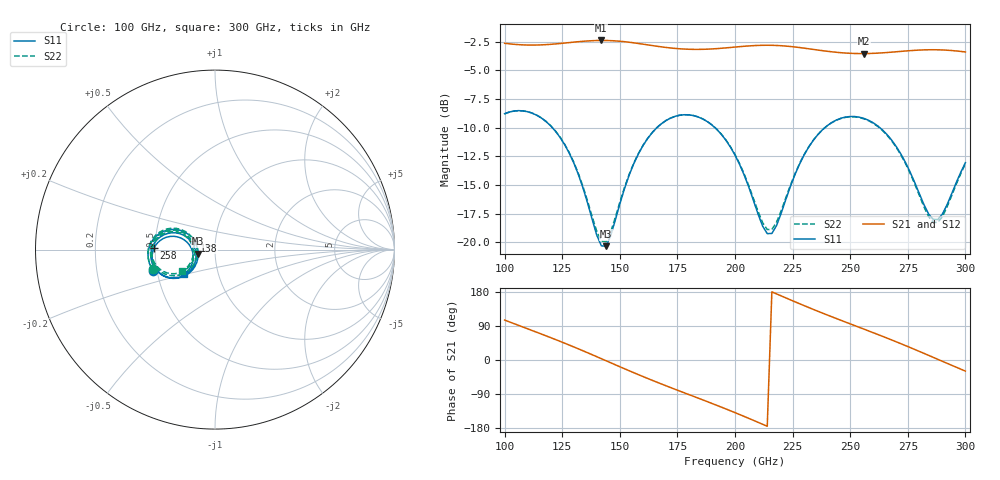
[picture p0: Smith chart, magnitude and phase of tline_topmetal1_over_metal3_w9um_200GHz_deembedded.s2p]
! Created with skrf 2.0.1 (http://scikit-rf.org).
# GHz S DB R 50.0
!freq dBS11 angS11 dBS21 angS21 dBS12 angS12 dBS22 angS22
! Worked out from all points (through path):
!   101 points, 100 GHz to 300 GHz, reference 50 ohm
!   highest |S21| = -2.39 dB at 142 GHz (marker M1); lowest = -3.5 dB at 256 GHz (marker M2)
!   group delay of S21, straight-line fit = 6.87 ps
!   lowest |S11| = -20.3 dB at 144 GHz (marker M3), VSWR 1.21, Z = 41.4 - j1.86 ohm
!   |S11| at or under -10 dB: 120.7 GHz to 166.1 GHz (45.44 GHz wide, 31.7 % of centre); 191.3 GHz to 239 GHz (47.77 GHz wide, 22.2 % of centre); 262.8 GHz to end of sweep
!   |S22| runs from -19.9 to -8.5 dB; largest |S21 - S12| = 8.7e-14
!   S11 on the Smith chart (normalised r, x): 100 GHz: 0.48, -0.13; 138 GHz: 0.79, +0.08; 258 GHz: 0.49, +0.01; 300 GHz: 0.68, -0.20
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100  -8.79 -161.2  -2.64 105.5  -2.64 105.5  -8.79 -162.7
118  -9.47 167.1  -2.75 63.7  -2.75 63.7  -9.46 165.5
134  -15.25 150.2  -2.46 24.4  -2.46 24.4  -15.13 148.9
138  -18.01 156.8  -2.41 14.0  -2.41 14.0  -17.76 155.5
142  -20.32 178.2  -2.39 3.4  -2.39 3.4  -19.91 175.9
144  -20.35 -166.6  -2.39 -1.9  -2.39 -1.9  -19.94 -169.9
156  -13.18 -138.7  -2.59 -33.3  -2.59 -33.3  -13.13 -142.7
168  -9.67 -154.5  -2.95 -63.1  -2.95 -63.1  -9.66 -158.2
184  -9.07 179.0  -3.17 -100.6  -3.17 -100.6  -9.06 175.4
200  -12.40 157.1  -2.97 -138.9  -2.97 -138.9  -12.35 153.6
212  -18.60 171.3  -2.81 -169.7  -2.81 -169.7  -18.30 167.6
216  -19.24 -165.7  -2.81 179.8  -2.81 179.8  -18.89 -170.8
224  -15.16 -140.0  -2.91 158.9  -2.91 158.9  -15.05 -146.1
234  -11.10 -145.3  -3.17 133.5  -3.17 133.5  -11.09 -151.2
244  -9.34 -159.6  -3.42 109.4  -3.42 109.4  -9.35 -165.5
256  -9.20 -178.2  -3.53 81.4  -3.53 81.4  -9.23 175.8
258  -9.36 178.9  -3.53 76.7  -3.53 76.7  -9.40 172.7
268  -11.09 165.7  -3.41 52.8  -3.41 52.8  -11.15 159.2
278  -14.79 162.2  -3.25 27.8  -3.25 27.8  -14.92 155.4
286  -18.01 -175.1  -3.20 7.1  -3.20 7.1  -18.27 178.4
290  -17.55 -156.7  -3.22 -3.4  -3.22 -3.4  -17.78 -162.5
300  -13.06 -141.4  -3.39 -29.2  -3.39 -29.2  -13.16 -147.4
